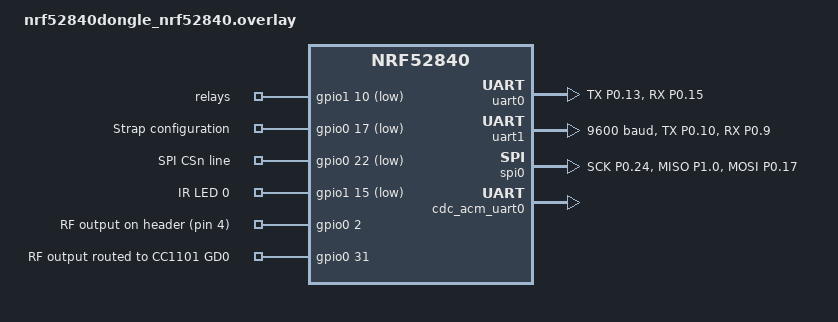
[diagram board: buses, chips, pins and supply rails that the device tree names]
/ {
	chosen {
		/*
		 * In some default configurations within the nRF Connect SDK,
		 * e.g. on nRF52840 and nRF9160, the chosen zephyr,entropy node
		 * is &cryptocell. This devicetree overlay ensures that default
		 * is overridden wherever it is set, as this application uses
		 * the RNG node for entropy exclusively.
		 */
		zephyr,entropy = &rng;
		ncs,zboss-trace-uart = &cdc_acm_uart0;
	};

	aliases {
		led-state-green = &led1_green;
		led-state-red = &led1_red;
		led-state-blue = &led1_blue;
		led-activity = &led0_green;
		led-ir = &led2_ir;
		rf-pin = &rf_pin;
		rf-pin-cc1101 = &rf_pin_cc1101;
	};

	io_pins {
		compatible = "gpio-keys";

		/* lower left pins */
		relays: _relays {
			gpios = <&gpio1 10 GPIO_ACTIVE_LOW>,
				<&gpio1 13 GPIO_ACTIVE_LOW>;
			label = "relays";
		};

		strap_pins: _strap_pins {
			gpios = <&gpio0 17 (GPIO_PULL_UP | GPIO_ACTIVE_LOW)>,
				<&gpio0 20 (GPIO_PULL_UP | GPIO_ACTIVE_LOW)>,
				<&gpio0 22 (GPIO_PULL_UP | GPIO_ACTIVE_LOW)>;
			label = "Strap configuration";
		};

		spi_cs: _spi_cs {
			gpios = <&gpio0 22 (GPIO_PULL_UP | GPIO_ACTIVE_LOW)>;
			label = "SPI CSn line";
		};

		led2_ir: led_2_ir {
			/* lower left, 4th from edge */
			gpios = <&gpio1 15 GPIO_ACTIVE_LOW>;
			label = "IR LED 0";
		};

		rf_pin: _rf_pin {
			/* lower left, 5th from edge */
			gpios = <&gpio0 2 0>;
			label = "RF output on header (pin 4)";
		};

		rf_pin_cc1101: _rf_pin_cc1101 {
			gpios = <&gpio0 31 0>;
			label = "RF output routed to CC1101 GD0";
		};
	};
};

&uart0 {
	/* upper right pins, TX on the outside */
	pinctrl-0 = <&uart0_default>;
	pinctrl-1 = <&uart0_sleep>;
	pinctrl-names = "default", "sleep";
};

&uart1 {
	compatible = "nordic,nrf-uarte";
	status = "okay";
	current-speed = < 9600 >;

	/* upper left pins, TX on the outside */
	pinctrl-0 = <&uart1_default>;
	pinctrl-1 = <&uart1_sleep>;
	pinctrl-names = "default", "sleep";
};

&spi0 {
	compatible = "nordic,nrf-spi";
	status = "okay";
	pinctrl-0 = <&spi0_default_alt>;
	pinctrl-1 = <&spi0_sleep_alt>;
	pinctrl-names = "default", "sleep";

	// The SPI_NRFX_SPI_DEVICE() initializer calls
	// spi_context_cs_configure_all() at boot time, which configures
	// the "cs-gpios" as outputs.  Since this pin is also a strap pin,
	// we want to leave it configured as an input until we know for sure
	// (from the strapping) that this is a CC1101 board.  On a non-CC1101
	// board this GPIO could be tied to ground.
	//cs-gpios = <&gpio0 22 GPIO_ACTIVE_LOW>;
};

&i2c0 {
	// avoid DT conflict
	status = "disabled";
};

&pinctrl {
	spi0_default_alt: spi0_default_alt {
		group1 {
			psels = <NRF_PSEL(SPIM_SCK, 0, 24)>,
				<NRF_PSEL(SPIM_MISO, 1, 0)>,
				<NRF_PSEL(SPIM_MOSI, 0, 17)>;
		};
	};

	spi0_sleep_alt: spi0_sleep_alt {
		group1 {
			psels = <NRF_PSEL(SPIM_SCK, 0, 24)>,
				<NRF_PSEL(SPIM_MISO, 1, 0)>,
				<NRF_PSEL(SPIM_MOSI, 0, 17)>;
			low-power-enable;
		};
	};

	uart0_default: uart0_default {
		group1 {
			psels = <NRF_PSEL(UART_TX, 0, 13)>;
		};
		group2 {
			psels = <NRF_PSEL(UART_RX, 0, 15)>;
			bias-pull-up;
		};
	};

	uart0_sleep: uart0_sleep {
		group1 {
			psels = <NRF_PSEL(UART_TX, 0, 13)>;
		};
		group2 {
			psels = <NRF_PSEL(UART_RX, 0, 15)>;
			bias-pull-up;
		};
	};

	uart1_default: uart1_default {
		group1 {
			psels = <NRF_PSEL(UART_TX, 0, 10)>;
		};
		group2 {
			psels = <NRF_PSEL(UART_RX, 0, 9)>;
			bias-pull-up;
		};
	};

	uart1_sleep: uart1_sleep {
		group1 {
			psels = <NRF_PSEL(UART_TX, 0, 10)>;
		};
		group2 {
			psels = <NRF_PSEL(UART_RX, 0, 9)>;
			bias-pull-up;
		};
	};
};

&zephyr_udc0 {
	cdc_acm_uart0: cdc_acm_uart0 {
		compatible = "zephyr,cdc-acm-uart";
	};
};
